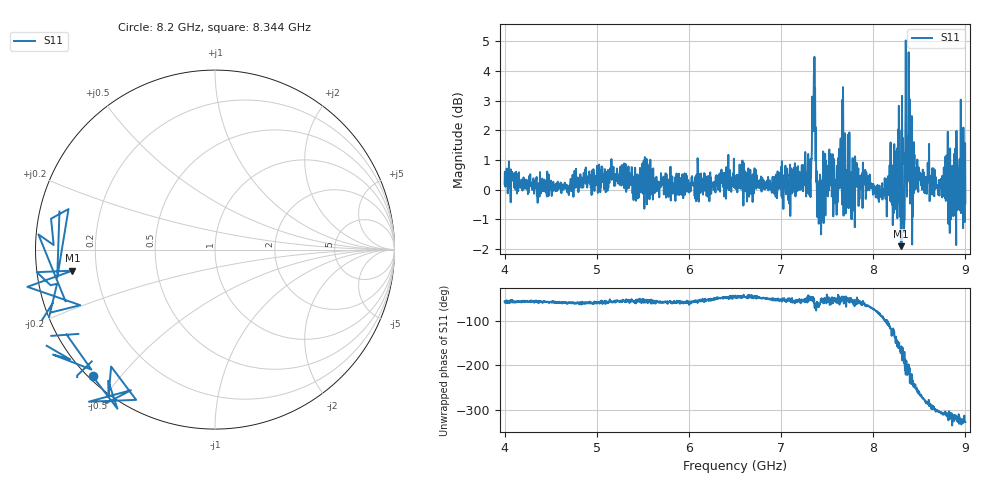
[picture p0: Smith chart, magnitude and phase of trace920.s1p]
! Created with skrf 1.8.0 (http://scikit-rf.org).
# Hz S RI R 50.0
!freq ReS11 ImS11
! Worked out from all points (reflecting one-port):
!   1601 points, 4 GHz to 9 GHz, reference 50 ohm
!   lowest |S11| = -1.9 dB at 8.3 GHz (marker M1), VSWR 9.15, Z = 5.49 - j3.63 ohm
!   phase of S11 starts at -57 deg and turns -270 deg over the sweep
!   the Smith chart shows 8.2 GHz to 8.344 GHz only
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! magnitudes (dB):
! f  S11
! 4 GHz  0.2
! 4.625 GHz  0.0
! 5.25 GHz  0.2
! 5.875 GHz  -0.1
! 6.5 GHz  0.5
! 7.125 GHz  0.5
! 7.297 GHz  0.5
! 7.353 GHz  3.1
! 7.412 GHz  -0.5
! 7.538 GHz  1.2
! 7.591 GHz  0.0
! 7.669 GHz  0.8
! 7.703 GHz  0.1
! 7.75 GHz  0.4
! 8.075 GHz  0.0
! 8.222 GHz  -0.8
! 8.253 GHz  0.1
! 8.3 GHz  -1.9
! 8.316 GHz  0.9
! 8.334 GHz  -1.4
! 8.347 GHz  1.2
! 8.375 GHz  0.9
! 8.412 GHz  0.9
! 8.447 GHz  1.2
! 8.788 GHz  -0.4
! 8.838 GHz  -0.2
! 8.959 GHz  1.5
! 9 GHz  -0.5
